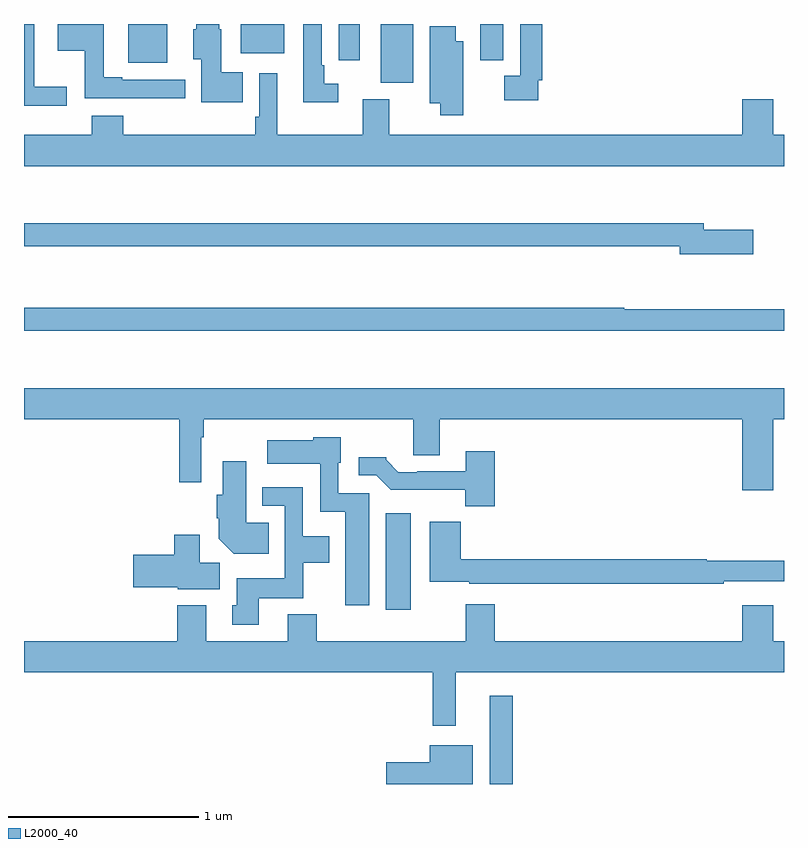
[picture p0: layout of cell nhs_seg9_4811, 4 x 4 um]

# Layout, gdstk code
import gdstk
lib = gdstk.Library(unit=1e-6, precision=1e-09)
def R(c, l, rs):  # rectangles x0, y0, x1, y1
    for r in rs: c.add(gdstk.rectangle(r[:2], r[2:], *l))
def P(c, l, *ps):  # polygons
    for p in ps: c.add(gdstk.Polygon(p, *l))
L2000_40 = (2000, 40)

nhs_seg9_4811 = lib.new_cell('nhs_seg9_4811')
R(nhs_seg9_4811, L2000_40, [(391.451,1194.5,391.573,1194.964), (390.905,1195.416,391.036,1195.924), (390.878,1198.19,391.048,1198.5), (389.549,1198.295,389.755,1198.5), (390.656,1198.308,390.768,1198.5), (391.4,1198.309,391.522,1198.5), (390.14,1198.346,390.37,1198.5)])
P(nhs_seg9_4811, L2000_40, [(390.152,1198.246),(390.037,1198.246),(390.037,1198.473),(390.028,1198.473),(390.028,1198.5),(389.906,1198.5),(389.906,1198.473),(389.891,1198.473),(389.891,1198.314),(389.933,1198.314),(389.933,1198.088),(390.152,1198.088)],
  [(389.848,1198.206),(389.518,1198.206),(389.518,1198.219),(389.421,1198.219),(389.421,1198.5),(389.178,1198.5),(389.178,1198.358),(389.32,1198.358),(389.32,1198.11),(389.605,1198.11),(389.605,1198.109),(389.848,1198.109)],
  [(389.224,1198.169),(389.053,1198.169),(389.053,1198.5),(389,1198.5),(389,1198.07),(389.224,1198.07)],
  [(390.655,1198.185),(390.579,1198.185),(390.579,1198.282),(390.567,1198.282),(390.567,1198.5),(390.471,1198.5),(390.471,1198.088),(390.655,1198.088)],
  [(391.707,1198.204),(391.727,1198.204),(391.727,1198.5),(391.611,1198.5),(391.611,1198.228),(391.528,1198.228),(391.528,1198.1),(391.707,1198.1)],
  [(391.312,1198.408),(391.273,1198.408),(391.273,1198.489),(391.136,1198.489),(391.136,1198.082),(391.19,1198.082),(391.19,1198.02),(391.312,1198.02)],
  [(393,1197.916),(392.944,1197.916),(392.944,1198.105),(392.78,1198.105),(392.78,1197.916),(390.922,1197.916),(390.922,1198.105),(390.782,1198.105),(390.782,1197.916),(390.334,1197.916),(390.334,1198.24),(390.237,1198.24),(390.237,1198.012),(390.217,1198.012),(390.217,1197.916),(389.522,1197.916),(389.522,1198.018),(389.357,1198.018),(389.357,1197.916),(389,1197.916),(389,1197.752),(393,1197.752)],
  [(392.839,1197.417),(392.578,1197.417),(392.578,1197.451),(389,1197.451),(389,1197.33),(392.45,1197.33),(392.45,1197.287),(392.839,1197.287)],
  [(393,1196.999),(392.158,1196.999),(392.158,1197.007),(389,1197.007),(389,1196.886),(393,1196.886)],
  [(392.944,1196.42),(393,1196.42),(393,1196.584),(389,1196.584),(389,1196.42),(389.818,1196.42),(389.818,1196.088),(389.934,1196.088),(389.934,1196.324),(389.947,1196.324),(389.947,1196.42),(391.049,1196.42),(391.049,1196.23),(391.189,1196.23),(391.189,1196.42),(392.78,1196.42),(392.78,1196.046),(392.944,1196.046)],
  [(390.817,1196.031),(390.654,1196.031),(390.654,1196.19),(390.667,1196.19),(390.667,1196.326),(390.522,1196.326),(390.522,1196.308),(390.279,1196.308),(390.279,1196.186),(390.558,1196.186),(390.558,1195.934),(390.692,1195.934),(390.692,1195.44),(390.817,1195.44)],
  [(391.478,1196.251),(391.325,1196.251),(391.325,1196.145),(391.069,1196.145),(391.069,1196.142),(390.97,1196.142),(390.906,1196.206),(390.906,1196.221),(390.762,1196.221),(390.762,1196.124),(390.855,1196.124),(390.931,1196.048),(391.323,1196.048),(391.323,1195.961),(391.478,1195.961)],
  [(390.287,1195.876),(390.169,1195.876),(390.169,1196.2),(390.047,1196.2),(390.047,1196.022),(390.014,1196.022),(390.014,1195.9),(390.026,1195.9),(390.026,1195.79),(390.104,1195.712),(390.287,1195.712)],
  [(390.235,1195.478),(390.471,1195.478),(390.471,1195.664),(390.607,1195.664),(390.607,1195.804),(390.468,1195.804),(390.468,1196.061),(390.255,1196.061),(390.255,1195.965),(390.372,1195.965),(390.372,1195.582),(390.119,1195.582),(390.119,1195.44),(390.095,1195.44),(390.095,1195.338),(390.235,1195.338)],
  [(392.684,1195.566),(393,1195.566),(393,1195.675),(392.594,1195.675),(392.594,1195.682),(391.298,1195.682),(391.298,1195.879),(391.136,1195.879),(391.136,1195.565),(391.344,1195.565),(391.344,1195.554),(392.684,1195.554)],
  [(390.031,1195.664),(389.926,1195.664),(389.926,1195.813),(389.792,1195.813),(389.792,1195.706),(389.574,1195.706),(389.574,1195.535),(389.808,1195.535),(389.808,1195.526),(390.031,1195.526)],
  [(391.273,1195.088),(393,1195.088),(393,1195.252),(392.944,1195.252),(392.944,1195.441),(392.78,1195.441),(392.78,1195.252),(391.478,1195.252),(391.478,1195.447),(391.325,1195.447),(391.325,1195.252),(390.542,1195.252),(390.542,1195.393),(390.389,1195.393),(390.389,1195.252),(389.959,1195.252),(389.959,1195.441),(389.807,1195.441),(389.807,1195.252),(389,1195.252),(389,1195.088),(391.152,1195.088),(391.152,1194.807),(391.273,1194.807)],
  [(391.363,1194.703),(391.136,1194.703),(391.136,1194.615),(390.906,1194.615),(390.906,1194.5),(391.363,1194.5)])

lib.write_gds('nhs_seg9_4811.gds')
